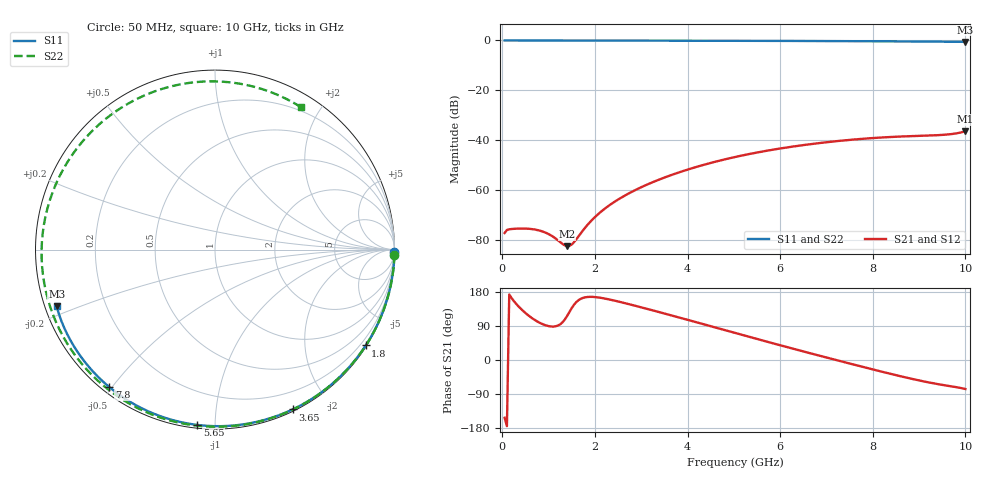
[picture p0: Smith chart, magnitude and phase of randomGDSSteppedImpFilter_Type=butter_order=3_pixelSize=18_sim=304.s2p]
! freq	dB(S11)	phase(S11)	dB(S12)	phase(S12)
!  dB(S21)	phase(S21)	dB(S22)	phase(S22)
!S-par simulation data
#  GHz  S  DB  R 50
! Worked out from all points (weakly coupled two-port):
!   200 points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, 50 MHz to 10 GHz, reference 50 ohm
!   highest |S21| = -36.35 dB at 10 GHz (marker M1); lowest = -82.3 dB at 1.4 GHz (marker M2)
!   lowest |S11| = -0.6 dB at 10 GHz (marker M3), VSWR 30.77, Z = 1.67 - j8.67 ohm
!   |S11| at or under -10 dB: nowhere
!   |S22| runs from -0.7 to 0.0 dB; largest |S21 - S12| = 0
!   S11 on the Smith chart (normalised r, x): 50 MHz: open; 1.8 GHz: 0.03, -3.43; 3.65 GHz: 0.02, -1.60; 5.65 GHz: 0.02, -0.90; 7.8 GHz: 0.02, -0.49; 10 GHz: 0.03, -0.17
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0.05  -0.00 -0.9  -77.06 -152.5  -77.06 -152.5  -0.00 -1.6
0.15  -0.00 -2.8  -75.59 173.0  -75.59 173.0  -0.00 -4.8
0.65  -0.01 -11.9  -75.52 109.7  -75.52 109.7  -0.02 -20.9
0.95  -0.02 -17.3  -77.06 91.1  -77.06 91.1  -0.03 -30.4
1.2  -0.03 -21.8  -79.96 90.8  -79.96 90.8  -0.05 -38.2
1.4  -0.03 -25.4  -82.34 116.2  -82.34 116.2  -0.05 -44.4
1.6  -0.04 -28.9  -79.54 153.1  -79.54 153.1  -0.06 -50.5
1.75  -0.04 -31.6  -75.83 164.2  -75.83 164.2  -0.07 -55.0
1.8  -0.04 -32.5  -74.68 165.6  -74.68 165.6  -0.07 -56.5
2.1  -0.05 -37.7  -69.02 164.6  -69.02 164.6  -0.08 -65.5
2.45  -0.06 -43.8  -64.25 155.9  -64.25 155.9  -0.09 -75.7
3.4  -0.08 -59.9  -55.59 126.0  -55.59 126.0  -0.13 -102.5
3.65  -0.09 -64.1  -53.87 117.8  -53.87 117.8  -0.14 -109.3
4.3  -0.11 -74.7  -50.04 96.0  -50.04 96.0  -0.17 -126.7
5.05  -0.13 -86.5  -46.55 70.7  -46.55 70.7  -0.21 -146.4
5.65  -0.16 -95.7  -44.34 50.5  -44.34 50.5  -0.25 -162.3
6.7  -0.22 -111.5  -41.40 16.2  -41.40 16.2  -0.33 169.0
7.25  -0.26 -119.6  -40.25 -1.4  -40.25 -1.4  -0.38 153.1
7.8  -0.30 -127.6  -39.33 -18.7  -39.33 -18.7  -0.43 136.3
8.35  -0.35 -135.6  -38.67 -35.5  -38.67 -35.5  -0.48 118.5
9.2  -0.44 -148.2  -38.06 -59.0  -38.06 -59.0  -0.57 88.7
10  -0.56 -160.3  -36.35 -76.6  -36.35 -76.6  -0.66 58.8
